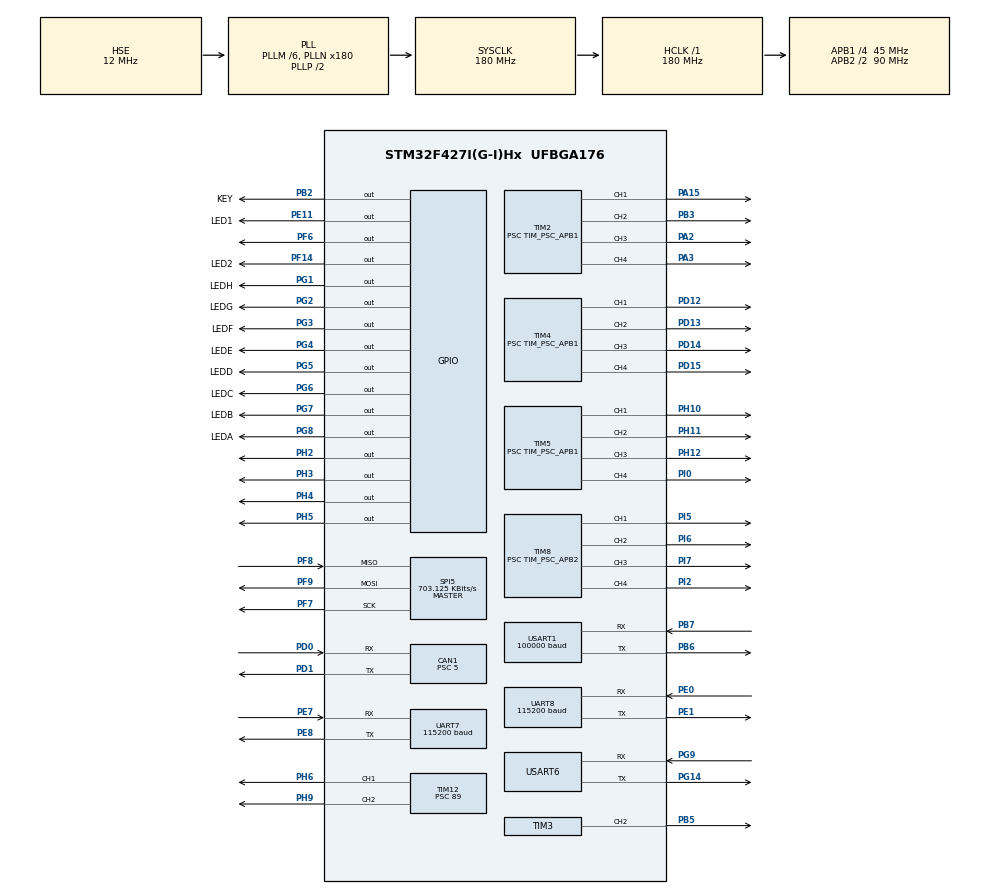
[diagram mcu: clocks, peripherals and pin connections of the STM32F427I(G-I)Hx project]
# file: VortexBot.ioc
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CAN1.ABOM=ENABLE
CAN1.BS1=CAN_BS1_3TQ
CAN1.BS2=CAN_BS2_5TQ
CAN1.CalculateTimeQuantum=111.11111111111111
CAN1.Prescaler=5
Dma.Request0=USART1_RX
Dma.Request1=UART7_RX
Dma.Request2=UART7_TX
Dma.Request3=USART6_RX
Dma.Request4=USART6_TX
Dma.Request5=UART8_RX
Dma.Request6=UART8_TX
Dma.UART7_RX.1.Direction=DMA_PERIPH_TO_MEMORY
Dma.UART7_RX.1.FIFOMode=DMA_FIFOMODE_DISABLE
Dma.UART7_RX.1.Instance=DMA1_Stream3
Dma.UART7_RX.1.MemDataAlignment=DMA_MDATAALIGN_BYTE
Dma.UART7_RX.1.MemInc=DMA_MINC_ENABLE
Dma.UART7_RX.1.Mode=DMA_NORMAL
Dma.UART7_RX.1.PeriphDataAlignment=DMA_PDATAALIGN_BYTE
Dma.UART7_RX.1.PeriphInc=DMA_PINC_DISABLE
Dma.UART7_RX.1.Priority=DMA_PRIORITY_LOW
Dma.UART7_TX.2.Direction=DMA_MEMORY_TO_PERIPH
Dma.UART7_TX.2.FIFOMode=DMA_FIFOMODE_DISABLE
Dma.UART7_TX.2.Instance=DMA1_Stream1
Dma.UART7_TX.2.MemDataAlignment=DMA_MDATAALIGN_BYTE
Dma.UART7_TX.2.MemInc=DMA_MINC_ENABLE
Dma.UART7_TX.2.Mode=DMA_NORMAL
Dma.UART7_TX.2.PeriphDataAlignment=DMA_PDATAALIGN_BYTE
Dma.UART7_TX.2.PeriphInc=DMA_PINC_DISABLE
Dma.UART7_TX.2.Priority=DMA_PRIORITY_LOW
Dma.UART8_RX.5.Direction=DMA_PERIPH_TO_MEMORY
Dma.UART8_RX.5.FIFOMode=DMA_FIFOMODE_DISABLE
Dma.UART8_RX.5.Instance=DMA1_Stream6
Dma.UART8_RX.5.MemDataAlignment=DMA_MDATAALIGN_BYTE
Dma.UART8_RX.5.MemInc=DMA_MINC_ENABLE
Dma.UART8_RX.5.Mode=DMA_NORMAL
Dma.UART8_RX.5.PeriphDataAlignment=DMA_PDATAALIGN_BYTE
Dma.UART8_RX.5.PeriphInc=DMA_PINC_DISABLE
Dma.UART8_RX.5.Priority=DMA_PRIORITY_LOW
Dma.UART8_TX.6.Direction=DMA_MEMORY_TO_PERIPH
Dma.UART8_TX.6.FIFOMode=DMA_FIFOMODE_DISABLE
Dma.UART8_TX.6.Instance=DMA1_Stream0
Dma.UART8_TX.6.MemDataAlignment=DMA_MDATAALIGN_BYTE
Dma.UART8_TX.6.MemInc=DMA_MINC_ENABLE
Dma.UART8_TX.6.Mode=DMA_NORMAL
Dma.UART8_TX.6.PeriphDataAlignment=DMA_PDATAALIGN_BYTE
Dma.UART8_TX.6.PeriphInc=DMA_PINC_DISABLE
Dma.UART8_TX.6.Priority=DMA_PRIORITY_LOW
Dma.USART1_RX.0.Direction=DMA_PERIPH_TO_MEMORY
Dma.USART1_RX.0.FIFOMode=DMA_FIFOMODE_DISABLE
Dma.USART1_RX.0.Instance=DMA2_Stream2
Dma.USART1_RX.0.MemDataAlignment=DMA_MDATAALIGN_BYTE
Dma.USART1_RX.0.MemInc=DMA_MINC_ENABLE
Dma.USART1_RX.0.Mode=DMA_NORMAL
Dma.USART1_RX.0.PeriphDataAlignment=DMA_PDATAALIGN_BYTE
Dma.USART1_RX.0.PeriphInc=DMA_PINC_DISABLE
Dma.USART1_RX.0.Priority=DMA_PRIORITY_LOW
Dma.USART6_RX.3.Direction=DMA_PERIPH_TO_MEMORY
Dma.USART6_RX.3.FIFOMode=DMA_FIFOMODE_DISABLE
Dma.USART6_RX.3.Instance=DMA2_Stream1
Dma.USART6_RX.3.MemDataAlignment=DMA_MDATAALIGN_BYTE
Dma.USART6_RX.3.MemInc=DMA_MINC_ENABLE
Dma.USART6_RX.3.Mode=DMA_NORMAL
Dma.USART6_RX.3.PeriphDataAlignment=DMA_PDATAALIGN_BYTE
Dma.USART6_RX.3.PeriphInc=DMA_PINC_DISABLE
Dma.USART6_RX.3.Priority=DMA_PRIORITY_LOW
Dma.USART6_TX.4.Direction=DMA_MEMORY_TO_PERIPH
Dma.USART6_TX.4.FIFOMode=DMA_FIFOMODE_DISABLE
Dma.USART6_TX.4.Instance=DMA2_Stream6
Dma.USART6_TX.4.MemDataAlignment=DMA_MDATAALIGN_BYTE
Dma.USART6_TX.4.MemInc=DMA_MINC_ENABLE
Dma.USART6_TX.4.Mode=DMA_NORMAL
Dma.USART6_TX.4.PeriphDataAlignment=DMA_PDATAALIGN_BYTE
Dma.USART6_TX.4.PeriphInc=DMA_PINC_DISABLE
Dma.USART6_TX.4.Priority=DMA_PRIORITY_LOW
FREERTOS.INCLUDE_uxTaskGetStackHighWaterMark=1
FREERTOS.INCLUDE_vTaskDelayUntil=1
FREERTOS.Tasks01=defaultTask,0,128,StartDefaultTask,Default,NULL
FREERTOS.configCHECK_FOR_STACK_OVERFLOW=1
FREERTOS.configTIMER_TASK_STACK_DEPTH=128
FREERTOS.configUSE_IDLE_HOOK=1
FREERTOS.configUSE_TICK_HOOK=1
FREERTOS.configUSE_TIMERS=1
FREERTOS.configUSE_TRACE_FACILITY=1
Mcu.Family=STM32F4
Mcu.Name=STM32F427I(G-I)Hx
Mcu.Package=UFBGA176
Mcu.UserConstants=PWM_FREQUENCE,50;PWM_RESOLUTION,10000;APB1_TIMER_CLOCKS,90000000;PWM_DEFAULT_DUTY,5000;APB2_TIMER_CLOCKS,180000000;TIM_PSC_APB1,((APB1_TIMER_CLOCKS/PWM_FREQUENCE)/PWM_RESOLUTION -1);TIM_PSC_APB2,((APB2_TIMER_CLOCKS/PWM_FREQUENCE)/PWM_RESOLUTION -1)
NVIC.CAN1_RX0_IRQn=true\:5\:0\:true\:false\:true\:true\:true
NVIC.CAN1_TX_IRQn=true\:5\:0\:true\:false\:true\:true\:true
NVIC.DMA1_Stream0_IRQn=true\:5\:0\:false\:false\:true\:true\:false
NVIC.DMA1_Stream1_IRQn=true\:5\:0\:false\:false\:true\:true\:false
NVIC.DMA1_Stream3_IRQn=true\:5\:0\:false\:false\:true\:true\:false
NVIC.DMA1_Stream6_IRQn=true\:5\:0\:false\:false\:true\:true\:false
NVIC.DMA2_Stream1_IRQn=true\:5\:0\:false\:false\:true\:true\:false
NVIC.DMA2_Stream2_IRQn=true\:5\:0\:false\:false\:true\:true\:true
NVIC.DMA2_Stream6_IRQn=true\:5\:0\:false\:false\:true\:true\:false
NVIC.PriorityGroup=NVIC_PRIORITYGROUP_4
NVIC.TIM6_DAC_IRQn=true\:0\:0\:false\:false\:true\:false\:true
NVIC.TimeBase=TIM6_DAC_IRQn
NVIC.TimeBaseIP=TIM6
NVIC.UART7_IRQn=true\:5\:0\:true\:false\:true\:true\:true
NVIC.UART8_IRQn=true\:5\:0\:false\:false\:true\:true\:true
NVIC.USART1_IRQn=true\:5\:0\:true\:false\:true\:true\:true
NVIC.USART6_IRQn=true\:5\:0\:true\:false\:true\:true\:true
PA13.Mode=Serial_Wire
PA13.Signal=SYS_JTMS-SWDIO
PA14.Mode=Serial_Wire
PA14.Signal=SYS_JTCK-SWCLK
PA15.Signal=S_TIM2_CH1_ETR
PA2.Signal=S_TIM2_CH3
PA3.Signal=S_TIM2_CH4
PB2/BOOT1.GPIO_Label=KEY
PB2/BOOT1.Signal=GPIO_Output
PB3.Signal=S_TIM2_CH2
PB5.Signal=S_TIM3_CH2
PB6.Mode=Asynchronous
PB6.Signal=USART1_TX
PB7.Mode=Asynchronous
PB7.Signal=USART1_RX
PD0.Mode=Master
PD0.Signal=CAN1_RX
PD1.Mode=Master
PD1.Signal=CAN1_TX
PD12.Signal=S_TIM4_CH1
PD13.Signal=S_TIM4_CH2
PD14.Signal=S_TIM4_CH3
PD15.Signal=S_TIM4_CH4
PE0.Mode=Asynchronous
PE0.Signal=UART8_RX
PE1.Mode=Asynchronous
PE1.Signal=UART8_TX
PE11.GPIO_Label=LED1
PE11.Signal=GPIO_Output
PE7.Mode=Asynchronous
PE7.Signal=UART7_RX
PE8.Mode=Asynchronous
PE8.Signal=UART7_TX
PF14.GPIO_Label=LED2
PF14.GPIO_ModeDefaultOutputPP=GPIO_MODE_OUTPUT_PP
PF14.GPIO_PuPd=GPIO_NOPULL
PF14.GPIO_Speed=GPIO_SPEED_FREQ_LOW
PF14.PinState=GPIO_PIN_RESET
PF14.Signal=GPIO_Output
PF6.Signal=GPIO_Output
PF7.Mode=Full_Duplex_Master
PF7.Signal=SPI5_SCK
PF8.Mode=Full_Duplex_Master
PF8.Signal=SPI5_MISO
PF9.Mode=Full_Duplex_Master
PF9.Signal=SPI5_MOSI
PG1.GPIO_Label=LEDH
PG1.Signal=GPIO_Output
PG14.Mode=Asynchronous
PG14.Signal=USART6_TX
PG2.GPIO_Label=LEDG
PG2.Signal=GPIO_Output
PG3.GPIO_Label=LEDF
PG3.Signal=GPIO_Output
PG4.GPIO_Label=LEDE
PG4.Signal=GPIO_Output
PG5.GPIO_Label=LEDD
PG5.Signal=GPIO_Output
PG6.GPIO_Label=LEDC
PG6.Signal=GPIO_Output
PG7.GPIO_Label=LEDB
PG7.Signal=GPIO_Output
PG8.GPIO_Label=LEDA
PG8.PinState=GPIO_PIN_RESET
PG8.Signal=GPIO_Output
PG9.Mode=Asynchronous
PG9.Signal=USART6_RX
PH0/OSC_IN.Mode=HSE-External-Oscillator
PH0/OSC_IN.Signal=RCC_OSC_IN
PH1/OSC_OUT.Mode=HSE-External-Oscillator
PH1/OSC_OUT.Signal=RCC_OSC_OUT
PH10.Signal=S_TIM5_CH1
PH11.Signal=S_TIM5_CH2
PH12.Signal=S_TIM5_CH3
PH2.PinState=GPIO_PIN_SET
PH2.Signal=GPIO_Output
PH3.PinState=GPIO_PIN_SET
PH3.Signal=GPIO_Output
PH4.PinState=GPIO_PIN_SET
PH4.Signal=GPIO_Output
PH5.PinState=GPIO_PIN_SET
PH5.Signal=GPIO_Output
PH6.Signal=S_TIM12_CH1
PH9.Signal=S_TIM12_CH2
PI0.Signal=S_TIM5_CH4
PI2.Signal=S_TIM8_CH4
PI5.Signal=S_TIM8_CH1
PI6.Signal=S_TIM8_CH2
PI7.Signal=S_TIM8_CH3
ProjectManager.HeapSize=0x200
ProjectManager.StackSize=0x400
ProjectManager.TargetToolchain=MDK-ARM V5
RCC.48MHZClocksFreq_Value=90000000
RCC.AHBFreq_Value=180000000
RCC.APB1CLKDivider=RCC_HCLK_DIV4
RCC.APB1Freq_Value=45000000
RCC.APB1TimFreq_Value=90000000
RCC.APB2CLKDivider=RCC_HCLK_DIV2
RCC.APB2Freq_Value=90000000
RCC.APB2TimFreq_Value=180000000
RCC.CortexFreq_Value=180000000
RCC.HCLKFreq_Value=180000000
RCC.HSE_VALUE=12000000
RCC.HSI_VALUE=16000000
RCC.LSE_VALUE=32768
RCC.PLLM=6
RCC.PLLN=180
RCC.PLLSourceVirtual=RCC_PLLSOURCE_HSE
RCC.SYSCLKFreq_VALUE=180000000
RCC.SYSCLKSource=RCC_SYSCLKSOURCE_PLLCLK
RCC.VCOOutputFreq_Value=360000000
RTC.AsynchPrediv=124
RTC.Hours=10
RTC.Minutes=30
SH.S_TIM12_CH1.0=TIM12_CH1,PWM Generation1 CH1
SH.S_TIM12_CH2.0=TIM12_CH2,PWM Generation2 CH2
SH.S_TIM2_CH1_ETR.0=TIM2_CH1,PWM Generation1 CH1
SH.S_TIM2_CH2.0=TIM2_CH2,PWM Generation2 CH2
SH.S_TIM2_CH3.0=TIM2_CH3,PWM Generation3 CH3
SH.S_TIM2_CH4.0=TIM2_CH4,PWM Generation4 CH4
SH.S_TIM3_CH2.0=TIM3_CH2,PWM Generation2 CH2
SH.S_TIM4_CH1.0=TIM4_CH1,PWM Generation1 CH1
SH.S_TIM4_CH2.0=TIM4_CH2,PWM Generation2 CH2
SH.S_TIM4_CH3.0=TIM4_CH3,PWM Generation3 CH3
SH.S_TIM4_CH4.0=TIM4_CH4,PWM Generation4 CH4
SH.S_TIM5_CH1.0=TIM5_CH1,PWM Generation1 CH1
SH.S_TIM5_CH2.0=TIM5_CH2,PWM Generation2 CH2
SH.S_TIM5_CH3.0=TIM5_CH3,PWM Generation3 CH3
SH.S_TIM5_CH4.0=TIM5_CH4,PWM Generation4 CH4
SH.S_TIM8_CH1.0=TIM8_CH1,PWM Generation1 CH1
SH.S_TIM8_CH2.0=TIM8_CH2,PWM Generation2 CH2
SH.S_TIM8_CH3.0=TIM8_CH3,PWM Generation3 CH3
SH.S_TIM8_CH4.0=TIM8_CH4,PWM Generation4 CH4
SPI5.BaudRatePrescaler=SPI_BAUDRATEPRESCALER_128
SPI5.CalculateBaudRate=703.125 KBits/s
SPI5.Direction=SPI_DIRECTION_2LINES
SPI5.Mode=SPI_MODE_MASTER
SPI5.VirtualType=VM_MASTER
TIM12.Channel-PWM\ Generation1\ CH1=TIM_CHANNEL_1
TIM12.Channel-PWM\ Generation2\ CH2=TIM_CHANNEL_2
TIM12.Period=2499
TIM12.Prescaler=89
TIM2.Channel-PWM\ Generation1\ CH1=TIM_CHANNEL_1
TIM2.Channel-PWM\ Generation2\ CH2=TIM_CHANNEL_2
TIM2.Channel-PWM\ Generation3\ CH3=TIM_CHANNEL_3
TIM2.Channel-PWM\ Generation4\ CH4=TIM_CHANNEL_4
TIM2.Period=PWM_RESOLUTION-1
TIM2.Prescaler=TIM_PSC_APB1
TIM2.Pulse-PWM\ Generation1\ CH1=PWM_DEFAULT_DUTY
TIM2.Pulse-PWM\ Generation2\ CH2=PWM_DEFAULT_DUTY
TIM2.Pulse-PWM\ Generation3\ CH3=PWM_DEFAULT_DUTY
TIM2.Pulse-PWM\ Generation4\ CH4=PWM_DEFAULT_DUTY
TIM3.Channel-PWM\ Generation2\ CH2=TIM_CHANNEL_2
TIM3.Prescaler=89
TIM4.Channel-PWM\ Generation1\ CH1=TIM_CHANNEL_1
TIM4.Channel-PWM\ Generation2\ CH2=TIM_CHANNEL_2
TIM4.Channel-PWM\ Generation3\ CH3=TIM_CHANNEL_3
TIM4.Channel-PWM\ Generation4\ CH4=TIM_CHANNEL_4
TIM4.Period=PWM_RESOLUTION
TIM4.Prescaler=TIM_PSC_APB1
TIM4.Pulse-PWM\ Generation1\ CH1=PWM_DEFAULT_DUTY
TIM4.Pulse-PWM\ Generation2\ CH2=PWM_DEFAULT_DUTY
TIM4.Pulse-PWM\ Generation3\ CH3=PWM_DEFAULT_DUTY
TIM4.Pulse-PWM\ Generation4\ CH4=PWM_DEFAULT_DUTY
TIM5.Channel-PWM\ Generation1\ CH1=TIM_CHANNEL_1
TIM5.Channel-PWM\ Generation2\ CH2=TIM_CHANNEL_2
TIM5.Channel-PWM\ Generation3\ CH3=TIM_CHANNEL_3
TIM5.Channel-PWM\ Generation4\ CH4=TIM_CHANNEL_4
TIM5.Period=PWM_RESOLUTION-1
TIM5.Prescaler=TIM_PSC_APB1
TIM5.Pulse-PWM\ Generation1\ CH1=PWM_DEFAULT_DUTY
TIM5.Pulse-PWM\ Generation2\ CH2=PWM_DEFAULT_DUTY
TIM5.Pulse-PWM\ Generation3\ CH3=PWM_DEFAULT_DUTY
TIM5.Pulse-PWM\ Generation4\ CH4=PWM_DEFAULT_DUTY
TIM8.Channel-PWM\ Generation1\ CH1=TIM_CHANNEL_1
TIM8.Channel-PWM\ Generation2\ CH2=TIM_CHANNEL_2
TIM8.Channel-PWM\ Generation3\ CH3=TIM_CHANNEL_3
TIM8.Channel-PWM\ Generation4\ CH4=TIM_CHANNEL_4
TIM8.Period=PWM_RESOLUTION-1
TIM8.Prescaler=TIM_PSC_APB2
TIM8.Pulse-PWM\ Generation1\ CH1=PWM_DEFAULT_DUTY
TIM8.Pulse-PWM\ Generation2\ CH2=PWM_DEFAULT_DUTY
TIM8.Pulse-PWM\ Generation3\ CH3=PWM_DEFAULT_DUTY
TIM8.Pulse-PWM\ Generation4\ CH4=PWM_DEFAULT_DUTY
UART7.BaudRate=115200
UART7.Parity=PARITY_NONE
UART7.VirtualMode=Asynchronous
UART7.WordLength=WORDLENGTH_8B
UART8.BaudRate=115200
UART8.VirtualMode=Asynchronous
USART1.BaudRate=100000
USART1.Parity=PARITY_EVEN
USART1.StopBits=STOPBITS_2
USART1.VirtualMode=VM_ASYNC
USART6.VirtualMode=VM_ASYNC
VP_FREERTOS_VS_ENABLE.Mode=Enabled
VP_RTC_VS_RTC_Activate.Mode=RTC_Enabled
VP_RTC_VS_RTC_Calendar.Mode=RTC_Calendar
VP_SYS_VS_tim6.Mode=TIM6
board=demo

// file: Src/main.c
/**
  ******************************************************************************
  * @file           : main.c
  * @brief          : Main program body
  ******************************************************************************
  * This notice applies to any and all portions of this file
  * that are not between comment pairs USER CODE BEGIN and
  * USER CODE END. Other portions of this file, whether
  * inserted by the user or by software development tools
  * are owned by their respective copyright owners.
  *
  * Copyright (c) 2019 STMicroelectronics International N.V.
  * All rights reserved.
  *
  * Redistribution and use in source and binary forms, with or without
  * modification, are permitted, provided that the following conditions are met:
  *
  * 1. Redistribution of source code must retain the above copyright notice,
  *    this list of conditions and the following disclaimer.
  * 2. Redistributions in binary form must reproduce the above copyright notice,
  *    this list of conditions and the following disclaimer in the documentation
  *    and/or other materials provided with the distribution.
  * 3. Neither the name of STMicroelectronics nor the names of other
  *    contributors to this software may be used to endorse or promote products
  *    derived from this software without specific written permission.
  * 4. This software, including modifications and/or derivative works of this
  *    software, must execute solely and exclusively on microcontroller or
  *    microprocessor devices manufactured by or for STMicroelectronics.
  * 5. Redistribution and use of this software other than as permitted under
  *    this license is void and will automatically terminate your rights under
  *    this license.
  *
  * THIS SOFTWARE IS PROVIDED BY STMICROELECTRONICS AND CONTRIBUTORS "AS IS"
  * AND ANY EXPRESS, IMPLIED OR STATUTORY WARRANTIES, INCLUDING, BUT NOT
  * LIMITED TO, THE IMPLIED WARRANTIES OF MERCHANTABILITY, FITNESS FOR A
  * PARTICULAR PURPOSE AND NON-INFRINGEMENT OF THIRD PARTY INTELLECTUAL PROPERTY
  * RIGHTS ARE DISCLAIMED TO THE FULLEST EXTENT PERMITTED BY LAW. IN NO EVENT
  * SHALL STMICROELECTRONICS OR CONTRIBUTORS BE LIABLE FOR ANY DIRECT, INDIRECT,
  * INCIDENTAL, SPECIAL, EXEMPLARY, OR CONSEQUENTIAL DAMAGES (INCLUDING, BUT NOT
  * LIMITED TO, PROCUREMENT OF SUBSTITUTE GOODS OR SERVICES; LOSS OF USE, DATA,
  * OR PROFITS; OR BUSINESS INTERRUPTION) HOWEVER CAUSED AND ON ANY THEORY OF
  * LIABILITY, WHETHER IN CONTRACT, STRICT LIABILITY, OR TORT (INCLUDING
  * NEGLIGENCE OR OTHERWISE) ARISING IN ANY WAY OUT OF THE USE OF THIS SOFTWARE,
  * EVEN IF ADVISED OF THE POSSIBILITY OF SUCH DAMAGE.
  *
  ******************************************************************************
  */
#include "main.h"
#include "stm32f4xx_hal.h"
#include "cmsis_os.h"
#include "can.h"
#include "dma.h"
#include "rtc.h"
#include "spi.h"
#include "tim.h"
#include "usart.h"
#include "gpio.h"

/* USER CODE BEGIN Includes */
#include "bsp_can.h"
#include "bsp_uart.h"
#include "bsp_io.h"
#include "chassis_task.h"
#include "vortex_task.h"
#include "imu_task.h"
// #include "steer_ctrl.h"
#include "dm_motor_drive.h"
#include "odom_task.h"
#include "kf.h"
/* USER CODE END Includes */

/* USER CODE BEGIN PV */
/* Private variables ---------------------------------------------------------*/

/* USER CODE END PV */

void SystemClock_Config(void);
void MX_FREERTOS_Init(void);

/* USER CODE BEGIN PFP */
/* Private function prototypes -----------------------------------------------*/

/* USER CODE END PFP */

int main(void)
{

  /* MCU Configuration----------------------------------------------------------*/

  /* Reset of all peripherals, Initializes the Flash interface and the Systick. */
  HAL_Init();

  /* Configure the system clock */
  SystemClock_Config();

  /* Initialize all configured peripherals */
  MX_GPIO_Init();
  MX_DMA_Init();
  MX_CAN1_Init();
  MX_USART1_UART_Init();
  MX_RTC_Init();
  MX_UART7_Init();
  MX_USART6_UART_Init();
  MX_TIM4_Init();
  MX_TIM5_Init();
  MX_TIM2_Init();
  MX_TIM8_Init();
  MX_UART8_Init();
  MX_SPI5_Init();
  MX_TIM3_Init();
  MX_TIM12_Init();
  /* USER CODE BEGIN 2 */
  /* Software parameter init */
  rc_param_init();
  vortex_param_init();
  imu_param_init();
  odomTaskInit();
  kfInit();
  // servo_init();
  dmMotorInit();
  mpu_device_init();

  /* Hardware device init */
  can_device_init();

  /* Start recieve can and uart */
  can_receive_start();
  testctrl_uart_init();
  rc_uart_init();
  steer_uart_init();
  uwb_uart_init();

  /* PWM device init */
  pwm_device_init();

  /* task init */
  chassis_task_init();

  /* USER CODE END 2 */

  /* Call init function for freertos objects (in freertos.c) */
  MX_FREERTOS_Init();

  /* Start scheduler */
  osKernelStart();

  /* We should never get here as control is now taken by the scheduler */

  /* Infinite loop */
  while (1)
  {

  }

}

void SystemClock_Config(void)
{

  RCC_OscInitTypeDef RCC_OscInitStruct;
  RCC_ClkInitTypeDef RCC_ClkInitStruct;
  RCC_PeriphCLKInitTypeDef PeriphClkInitStruct;

    /**Configure the main internal regulator output voltage
    */
  __HAL_RCC_PWR_CLK_ENABLE();

  __HAL_PWR_VOLTAGESCALING_CONFIG(PWR_REGULATOR_VOLTAGE_SCALE1);

    /**Initializes the CPU, AHB and APB busses clocks
    */
  RCC_OscInitStruct.OscillatorType = RCC_OSCILLATORTYPE_LSI|RCC_OSCILLATORTYPE_HSE;
  RCC_OscInitStruct.HSEState = RCC_HSE_ON;
  RCC_OscInitStruct.LSIState = RCC_LSI_ON;
  RCC_OscInitStruct.PLL.PLLState = RCC_PLL_ON;
  RCC_OscInitStruct.PLL.PLLSource = RCC_PLLSOURCE_HSE;
  RCC_OscInitStruct.PLL.PLLM = 6;
  RCC_OscInitStruct.PLL.PLLN = 180;
  RCC_OscInitStruct.PLL.PLLP = RCC_PLLP_DIV2;
  RCC_OscInitStruct.PLL.PLLQ = 4;
  if (HAL_RCC_OscConfig(&RCC_OscInitStruct) != HAL_OK)
  {
    _Error_Handler(__FILE__, __LINE__);
  }

    /**Activate the Over-Drive mode
    */
  if (HAL_PWREx_EnableOverDrive() != HAL_OK)
  {
    _Error_Handler(__FILE__, __LINE__);
  }

    /**Initializes the CPU, AHB and APB busses clocks
    */
  RCC_ClkInitStruct.ClockType = RCC_CLOCKTYPE_HCLK|RCC_CLOCKTYPE_SYSCLK
                              |RCC_CLOCKTYPE_PCLK1|RCC_CLOCKTYPE_PCLK2;
  RCC_ClkInitStruct.SYSCLKSource = RCC_SYSCLKSOURCE_PLLCLK;
  RCC_ClkInitStruct.AHBCLKDivider = RCC_SYSCLK_DIV1;
  RCC_ClkInitStruct.APB1CLKDivider = RCC_HCLK_DIV4;
  RCC_ClkInitStruct.APB2CLKDivider = RCC_HCLK_DIV2;

  if (HAL_RCC_ClockConfig(&RCC_ClkInitStruct, FLASH_LATENCY_5) != HAL_OK)
  {
    _Error_Handler(__FILE__, __LINE__);
  }

  PeriphClkInitStruct.PeriphClockSelection = RCC_PERIPHCLK_RTC;
  PeriphClkInitStruct.RTCClockSelection = RCC_RTCCLKSOURCE_LSI;
  if (HAL_RCCEx_PeriphCLKConfig(&PeriphClkInitStruct) != HAL_OK)
  {
    _Error_Handler(__FILE__, __LINE__);
  }

    /**Configure the Systick interrupt time
    */
  HAL_SYSTICK_Config(HAL_RCC_GetHCLKFreq()/1000);

    /**Configure the Systick
    */
  HAL_SYSTICK_CLKSourceConfig(SYSTICK_CLKSOURCE_HCLK);

  /* SysTick_IRQn interrupt configuration */
  HAL_NVIC_SetPriority(SysTick_IRQn, 15, 0);
}

void HAL_TIM_PeriodElapsedCallback(TIM_HandleTypeDef *htim)
{
  if (htim->Instance == TIM6) {
    HAL_IncTick();
  }
}

void _Error_Handler(char *file, int line)
{
  while (1)
  {
  }
}

/************************ (C) COPYRIGHT STMicroelectronics *****END OF FILE****/

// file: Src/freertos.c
/* USER CODE BEGIN Header */
/**
  ******************************************************************************
  * File Name          : freertos.c
  * Description        : Code for freertos applications
  ******************************************************************************
  * This notice applies to any and all portions of this file
  * that are not between comment pairs USER CODE BEGIN and
  * USER CODE END. Other portions of this file, whether
  * inserted by the user or by software development tools
  * are owned by their respective copyright owners.
  *
  * Copyright (c) 2018 STMicroelectronics International N.V.
  * All rights reserved.
  *
  * Redistribution and use in source and binary forms, with or without
  * modification, are permitted, provided that the following conditions are met:
  *
  * 1. Redistribution of source code must retain the above copyright notice,
  *    this list of conditions and the following disclaimer.
  * 2. Redistributions in binary form must reproduce the above copyright notice,
  *    this list of conditions and the following disclaimer in the documentation
  *    and/or other materials provided with the distribution.
  * 3. Neither the name of STMicroelectronics nor the names of other
  *    contributors to this software may be used to endorse or promote products
  *    derived from this software without specific written permission.
  * 4. This software, including modifications and/or derivative works of this
  *    software, must execute solely and exclusively on microcontroller or
  *    microprocessor devices manufactured by or for STMicroelectronics.
  * 5. Redistribution and use of this software other than as permitted under
  *    this license is void and will automatically terminate your rights under
  *    this license.
  *
  * THIS SOFTWARE IS PROVIDED BY STMICROELECTRONICS AND CONTRIBUTORS "AS IS"
  * AND ANY EXPRESS, IMPLIED OR STATUTORY WARRANTIES, INCLUDING, BUT NOT
  * LIMITED TO, THE IMPLIED WARRANTIES OF MERCHANTABILITY, FITNESS FOR A
  * PARTICULAR PURPOSE AND NON-INFRINGEMENT OF THIRD PARTY INTELLECTUAL PROPERTY
  * RIGHTS ARE DISCLAIMED TO THE FULLEST EXTENT PERMITTED BY LAW. IN NO EVENT
  * SHALL STMICROELECTRONICS OR CONTRIBUTORS BE LIABLE FOR ANY DIRECT, INDIRECT,
  * INCIDENTAL, SPECIAL, EXEMPLARY, OR CONSEQUENTIAL DAMAGES (INCLUDING, BUT NOT
  * LIMITED TO, PROCUREMENT OF SUBSTITUTE GOODS OR SERVICES; LOSS OF USE, DATA,
  * OR PROFITS; OR BUSINESS INTERRUPTION) HOWEVER CAUSED AND ON ANY THEORY OF
  * LIABILITY, WHETHER IN CONTRACT, STRICT LIABILITY, OR TORT (INCLUDING
  * NEGLIGENCE OR OTHERWISE) ARISING IN ANY WAY OUT OF THE USE OF THIS SOFTWARE,
  * EVEN IF ADVISED OF THE POSSIBILITY OF SUCH DAMAGE.
  *
  ******************************************************************************
  */
/* USER CODE END Header */

#include "FreeRTOS.h"
#include "task.h"
#include "main.h"
#include "cmsis_os.h"

/* USER CODE BEGIN Includes */
#include "chassis_task.h"
#include "swmode_task.h"
#include "vortex_task.h"
#include "imu_task.h"
#include "servo_info_task.h"
#include "uwb_task.h"
#include "odom_task.h"
#include "motion_task.h"

/* USER CODE END Includes */

/* USER CODE BEGIN Variables */
TaskHandle_t mode_sw_task_t;
TaskHandle_t imu_task_t;
TaskHandle_t servo_info_task_t;
TaskHandle_t uwb_task_t;
TaskHandle_t odom_task_t;
TaskHandle_t chassis_task_t;
TaskHandle_t chassis_steer_task_t;

// osTimerId chassis_timer_id;
osTimerId vortex_timer_id;
osTimerId motion_timer_id;

/* USER CODE END Variables */
osThreadId defaultTaskHandle;

void StartDefaultTask(void const * argument);

void MX_FREERTOS_Init(void); /* (MISRA C 2004 rule 8.1) */

/* Hook prototypes */
void vApplicationIdleHook(void);
void vApplicationTickHook(void);
void vApplicationStackOverflowHook(xTaskHandle xTask, signed char *pcTaskName);

/* USER CODE BEGIN 2 */
__weak void vApplicationIdleHook( void )
{
   /* vApplicationIdleHook() will only be called if configUSE_IDLE_HOOK is set
   to 1 in FreeRTOSConfig.h. It will be called on each iteration of the idle
   task. It is essential that code added to this hook function never attempts
   to block in any way (for example, call xQueueReceive() with a block time
   specified, or call vTaskDelay()). If the application makes use of the
   vTaskDelete() API function (as this demo application does) then it is also
   important that vApplicationIdleHook() is permitted to return to its calling
   function, because it is the responsibility of the idle task to clean up
   memory allocated by the kernel to any task that has since been deleted. */
}
/* USER CODE END 2 */

/* USER CODE BEGIN 3 */
__weak void vApplicationTickHook( void )
{
   /* This function will be called by each tick interrupt if
   configUSE_TICK_HOOK is set to 1 in FreeRTOSConfig.h. User code can be
   added here, but the tick hook is called from an interrupt context, so
   code must not attempt to block, and only the interrupt safe FreeRTOS API
   functions can be used (those that end in FromISR()). */
}
/* USER CODE END 3 */

/* USER CODE BEGIN 4 */
__weak void vApplicationStackOverflowHook(xTaskHandle xTask, signed char *pcTaskName)
{
   /* Run time stack overflow checking is performed if
   configCHECK_FOR_STACK_OVERFLOW is defined to 1 or 2. This hook function is
   called if a stack overflow is detected. */
}
/* USER CODE END 4 */

void MX_FREERTOS_Init(void) {

  /* USER CODE BEGIN RTOS_TIMERS */
  /* start timers, add new ones, ... */
  taskENTER_CRITICAL();

  // osTimerDef(chassisTimer, chassis_task);
  // chassis_timer_id = osTimerCreate(osTimer(chassisTimer), osTimerPeriodic, NULL);

  osTimerDef(vortexTimer, vortex_task);
  vortex_timer_id = osTimerCreate(osTimer(vortexTimer), osTimerPeriodic, NULL);

  osTimerDef(motionTimer, motion_task);
  motion_timer_id = osTimerCreate(osTimer(motionTimer), osTimerPeriodic, NULL);
  /* USER CODE END RTOS_TIMERS */

  /* Create the thread(s) */
  /* definition and creation of defaultTask */
  osThreadDef(defaultTask, StartDefaultTask, osPriorityNormal, 0, 128);
  defaultTaskHandle = osThreadCreate(osThread(defaultTask), NULL);

  /* USER CODE BEGIN RTOS_THREADS */
  /* add threads, ... */
  osThreadDef(modeTask, mode_switch_task, osPriorityNormal, 0, 128);
  mode_sw_task_t = osThreadCreate(osThread(modeTask), NULL);

  osThreadDef(imuTask, imu_task, osPriorityNormal, 0, 128);
  imu_task_t = osThreadCreate(osThread(imuTask), NULL);

  osThreadDef(chassisTask, chassis_task, osPriorityHigh, 0, 128);
  chassis_task_t = osThreadCreate(osThread(chassisTask), NULL);

  osThreadDef(chassisSteerTask, chassis_steer_task, osPriorityAboveNormal, 0, 128);
  chassis_task_t = osThreadCreate(osThread(chassisSteerTask), NULL);

  // osThreadDef(servoInfoTask, servo_info_task, osPriorityNormal, 0, 128);
  // servo_info_task_t = osThreadCreate(osThread(servoInfoTask), NULL);

  // osThreadDef(odomTask, odom_task, osPriorityNormal, 0, 128);
  // odom_task_t = osThreadCreate(osThread(odomTask), NULL);

  // osThreadDef(uwbTask, uwb_task, osPriorityNormal, 0, 128);
  // uwb_task_t = osThreadCreate(osThread(uwbTask), NULL);

  taskEXIT_CRITICAL();
  /* USER CODE END RTOS_THREADS */

}

void StartDefaultTask(void const * argument)
{

  for(;;)
  {
    osDelay(1);
  }
}

/************************ (C) COPYRIGHT STMicroelectronics *****END OF FILE****/
